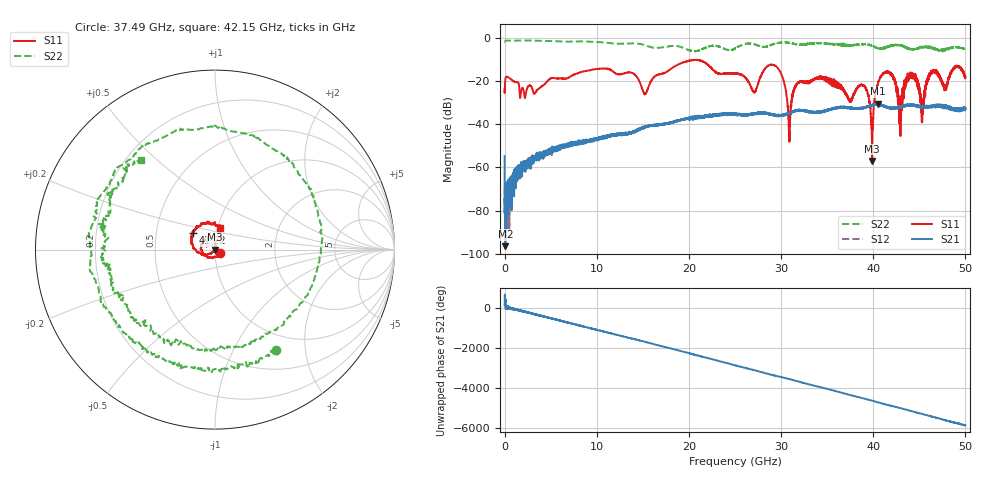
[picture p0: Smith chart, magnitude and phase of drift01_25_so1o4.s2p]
!Created with skrf (http://scikit-rf.org).
# Hz S RI R 50.0
!freq ReS11 ImS11 ReS21 ImS21 ReS12 ImS12 ReS22 ImS22
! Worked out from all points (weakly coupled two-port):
!   10001 points, 300 kHz to 50 GHz, reference 50 ohm
!   highest |S21| = -30.59 dB at 40.54 GHz (marker M1); lowest = -96.3 dB at 80.3 MHz (marker M2)
!   lowest |S11| = -57.0 dB at 39.87 GHz (marker M3), VSWR 1.00, Z = 49.9 + j0.0345 ohm
!   |S11| at or under -10 dB: start of sweep to end of sweep
!   |S22| runs from -6.5 to -1.4 dB; largest |S21 - S12| = 0.0039
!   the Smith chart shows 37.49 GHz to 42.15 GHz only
!   S11 on the Smith chart (normalised r, x): 37.49 GHz: 1.06, -0.04; 41.22 GHz: 0.77, +0.15; 42.15 GHz: 1.03, +0.25
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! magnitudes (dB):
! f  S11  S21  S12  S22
! 300 kHz  -23.8  -54.7  -69.2  -2.1
! 80.3 MHz  -19.2  -96.3  -73.5  -1.5
! 8.335 GHz  -15.9  -48.4  -48.8  -1.8
! 16.67 GHz  -17.1  -40.5  -40.3  -4.8
! 25 GHz  -16.7  -35.5  -35.2  -5.1
! 27.1 GHz  -25.3  -35.2  -35.3  -3.1
! 29.42 GHz  -13.2  -36.0  -35.9  -2.8
! 30.91 GHz  -43.4  -35.0  -34.7  -2.6
! 31.67 GHz  -21.6  -33.8  -33.7  -3.2
! 33.34 GHz  -19.9  -34.6  -34.3  -2.6
! 37.49 GHz  -29.1  -32.8  -32.7  -3.7
! 38.95 GHz  -22.2  -32.6  -32.3  -3.1
! 39.87 GHz  -57.0  -31.3  -31.1  -3.8
! 40.54 GHz  -20.9  -30.6  -30.9  -5.1
! 41.22 GHz  -16.2  -31.7  -31.8  -4.6
! 41.67 GHz  -16.0  -32.6  -32.5  -4.3
! 42.15 GHz  -18.2  -32.5  -32.7  -3.8
! 42.92 GHz  -37.5  -32.1  -32.2  -3.6
! 44.07 GHz  -17.6  -31.5  -31.2  -5.3
! 45.31 GHz  -39.2  -31.8  -31.8  -4.3
! 46.42 GHz  -15.8  -31.6  -32.0  -4.6
! 50 GHz  -18.1  -32.4  -32.9  -5.4
